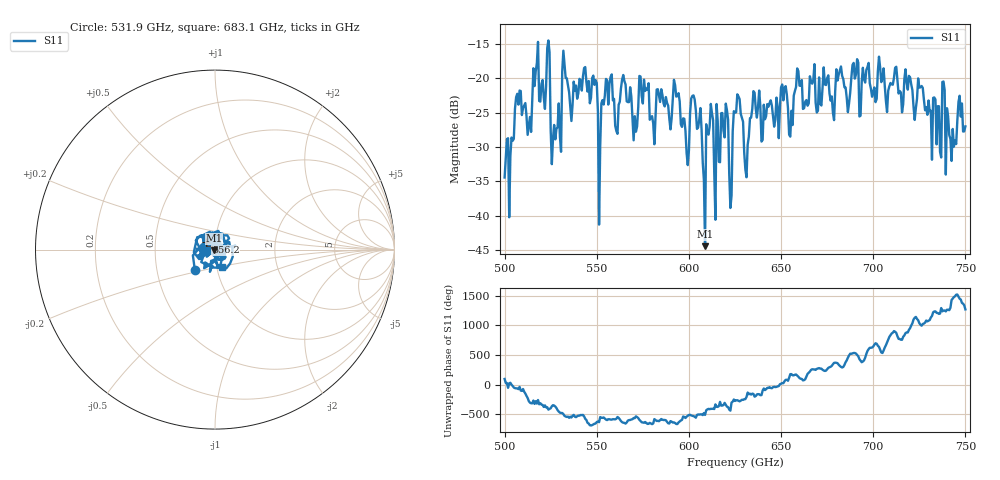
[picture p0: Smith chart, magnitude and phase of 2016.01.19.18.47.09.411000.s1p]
!Created with skrf (http://scikit-rf.org).
# GHz S RI R 50.0
!freq ReS11 ImS11
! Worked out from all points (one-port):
!   401 points, 500 GHz to 750 GHz, reference 50 ohm
!   lowest |S11| = -44.5 dB at 608.8 GHz (marker M1), VSWR 1.01, Z = 49.5 - j0.307 ohm
!   |S11| at or under -10 dB: start of sweep to end of sweep
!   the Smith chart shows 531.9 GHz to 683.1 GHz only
!   S11 on the Smith chart (normalised r, x): 531.9 GHz: 0.78, -0.18; 556.2 GHz: 0.90, +0.08; 683.1 GHz: 1.06, -0.21
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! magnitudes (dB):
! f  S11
! 500 GHz  -34.5
! 507.5 GHz  -23.8
! 513.8 GHz  -25.6
! 516.9 GHz  -19.0
! 523.8 GHz  -14.5
! 526.2 GHz  -28.8
! 531.2 GHz  -19.1
! 531.9 GHz  -16.0
! 548.8 GHz  -20.9
! 551.9 GHz  -29.8
! 556.2 GHz  -23.8
! 562.5 GHz  -23.4
! 593.8 GHz  -22.6
! 598.8 GHz  -30.9
! 602.5 GHz  -22.5
! 608.8 GHz  -44.5
! 611.9 GHz  -23.7
! 615 GHz  -23.7
! 620 GHz  -23.7
! 623.1 GHz  -37.1
! 625 GHz  -25.0
! 631.2 GHz  -34.4
! 635 GHz  -21.9
! 656.2 GHz  -26.8
! 683.1 GHz  -19.6
! 687.5 GHz  -22.1
! 718.8 GHz  -21.6
! 750 GHz  -27.0
